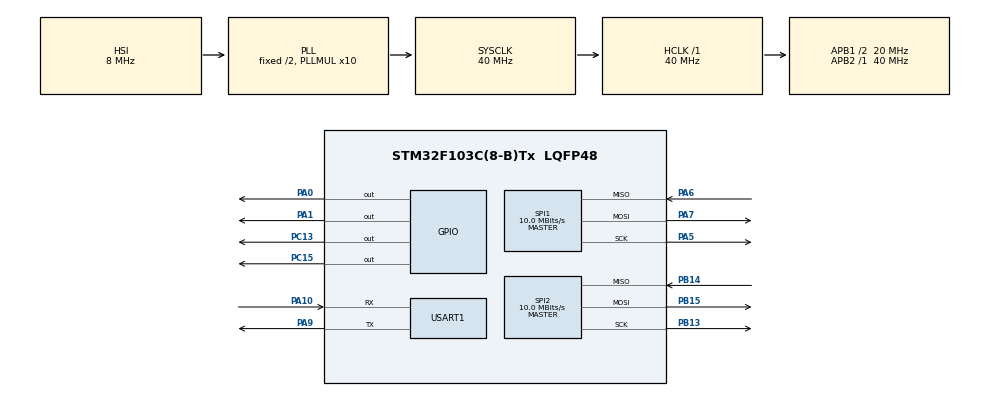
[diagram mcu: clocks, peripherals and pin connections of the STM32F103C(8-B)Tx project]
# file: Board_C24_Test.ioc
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FATFS._MAX_SS=4096
FATFS._USE_LFN=1
Mcu.Family=STM32F1
Mcu.Name=STM32F103C(8-B)Tx
Mcu.Package=LQFP48
NVIC.PriorityGroup=NVIC_PRIORITYGROUP_4
PA0-WKUP.GPIO_PuPd=GPIO_PULLDOWN
PA0-WKUP.Signal=GPIO_Output
PA1.GPIO_PuPd=GPIO_PULLDOWN
PA1.Signal=GPIO_Output
PA10.Mode=Asynchronous
PA10.Signal=USART1_RX
PA13.Mode=Serial_Wire
PA13.Signal=SYS_JTMS-SWDIO
PA14.Mode=Serial_Wire
PA14.Signal=SYS_JTCK-SWCLK
PA5.Mode=Full_Duplex_Master
PA5.Signal=SPI1_SCK
PA6.Mode=Full_Duplex_Master
PA6.Signal=SPI1_MISO
PA7.Mode=Full_Duplex_Master
PA7.Signal=SPI1_MOSI
PA9.Mode=Asynchronous
PA9.Signal=USART1_TX
PB13.Mode=Full_Duplex_Master
PB13.Signal=SPI2_SCK
PB14.Mode=Full_Duplex_Master
PB14.Signal=SPI2_MISO
PB15.Mode=Full_Duplex_Master
PB15.Signal=SPI2_MOSI
PC13-TAMPER-RTC.GPIO_PuPd=GPIO_PULLDOWN
PC13-TAMPER-RTC.Signal=GPIO_Output
PC15-OSC32_OUT.GPIO_PuPd=GPIO_PULLDOWN
PC15-OSC32_OUT.Signal=GPIO_Output
PD0-OSC_IN.Mode=HSE-External-Oscillator
PD0-OSC_IN.Signal=RCC_OSC_IN
PD1-OSC_OUT.Mode=HSE-External-Oscillator
PD1-OSC_OUT.Signal=RCC_OSC_OUT
ProjectManager.HeapSize=0x200
ProjectManager.StackSize=0x400
ProjectManager.TargetToolchain=STM32CubeIDE
RCC.AHBFreq_Value=40000000
RCC.APB1CLKDivider=RCC_HCLK_DIV2
RCC.APB1Freq_Value=20000000
RCC.APB1TimFreq_Value=40000000
RCC.APB2Freq_Value=40000000
RCC.APB2TimFreq_Value=40000000
RCC.HCLKFreq_Value=40000000
RCC.PLLMUL=RCC_PLL_MUL10
RCC.SYSCLKFreq_VALUE=40000000
RCC.SYSCLKSource=RCC_SYSCLKSOURCE_PLLCLK
RCC.USBFreq_Value=40000000
SPI1.BaudRatePrescaler=SPI_BAUDRATEPRESCALER_4
SPI1.CalculateBaudRate=10.0 MBits/s
SPI1.Direction=SPI_DIRECTION_2LINES
SPI1.Mode=SPI_MODE_MASTER
SPI1.VirtualType=VM_MASTER
SPI2.CalculateBaudRate=10.0 MBits/s
SPI2.Direction=SPI_DIRECTION_2LINES
SPI2.Mode=SPI_MODE_MASTER
SPI2.VirtualType=VM_MASTER
USART1.VirtualMode=VM_ASYNC
VP_FATFS_VS_Generic.Mode=User_defined
board=custom

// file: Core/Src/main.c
/* USER CODE BEGIN Header */
/**
  ******************************************************************************
  * @file           : main.c
  * @brief          : Main program body
  ******************************************************************************
  * @attention
  *
  * Copyright (c) 2024 STMicroelectronics.
  * All rights reserved.
  *
  * This software is licensed under terms that can be found in the LICENSE file
  * in the root directory of this software component.
  * If no LICENSE file comes with this software, it is provided AS-IS.
  *
  ******************************************************************************
  */
/* USER CODE END Header */
#include "main.h"
#include "fatfs.h"

/* USER CODE BEGIN Includes */
#include "ILI9225.h"
#include "sd.h"
/* USER CODE END Includes */

SPI_HandleTypeDef hspi1;
SPI_HandleTypeDef hspi2;

UART_HandleTypeDef huart1;

/* USER CODE BEGIN PV */
volatile uint16_t Timer1;
extern FATFS SDFatFs; //File system object structure (FATFS)
/* USER CODE END PV */

void SystemClock_Config(void);
static void MX_GPIO_Init(void);
static void MX_SPI1_Init(void);
static void MX_SPI2_Init(void);
static void MX_USART1_UART_Init(void);

/* USER CODE BEGIN 0 */
struct sd_data SD;
/* USER CODE END 0 */

int main(void)
{

  /* MCU Configuration--------------------------------------------------------*/

  /* Reset of all peripherals, Initializes the Flash interface and the Systick. */
  HAL_Init();

  /* Configure the system clock */
  SystemClock_Config();

  /* Initialize all configured peripherals */
  MX_GPIO_Init();
  MX_SPI1_Init();
  MX_SPI2_Init();
  MX_USART1_UART_Init();
  MX_FATFS_Init();
  /* USER CODE BEGIN 2 */
  HAL_GPIO_TogglePin(GPIOC ,GPIO_PIN_13);
  lcd_init();
  disk_initialize(SDFatFs.drv);
  //SD_List_File();

  /* USER CODE END 2 */

  /* Infinite loop */
  while (1)
  {

    /* USER CODE BEGIN 3 */

	  HAL_GPIO_TogglePin(GPIOC, GPIO_PIN_13);
	  fill_rectangle(0, 0, WIDTH, HEIGHT, COLOR_BLACK);
	  HAL_Delay(50);
	  fill_rectangle(0, 0, WIDTH, HEIGHT, COLOR_WHITE);
	  HAL_Delay(50);
	  fill_rectangle(0, 0, WIDTH, HEIGHT, COLOR_BLUE);
	  HAL_Delay(50);
	  fill_rectangle(0, 0, WIDTH, HEIGHT, COLOR_GREEN);
	  HAL_Delay(50);

	  HAL_Delay(50);

  }
  /* USER CODE END 3 */
}

void SystemClock_Config(void)
{
  RCC_OscInitTypeDef RCC_OscInitStruct = {0};
  RCC_ClkInitTypeDef RCC_ClkInitStruct = {0};

  /** Initializes the RCC Oscillators according to the specified parameters
  * in the RCC_OscInitTypeDef structure.
  */
  RCC_OscInitStruct.OscillatorType = RCC_OSCILLATORTYPE_HSI;
  RCC_OscInitStruct.HSIState = RCC_HSI_ON;
  RCC_OscInitStruct.HSICalibrationValue = RCC_HSICALIBRATION_DEFAULT;
  RCC_OscInitStruct.PLL.PLLState = RCC_PLL_ON;
  RCC_OscInitStruct.PLL.PLLSource = RCC_PLLSOURCE_HSI_DIV2;
  RCC_OscInitStruct.PLL.PLLMUL = RCC_PLL_MUL10;
  if (HAL_RCC_OscConfig(&RCC_OscInitStruct) != HAL_OK)
  {
    Error_Handler();
  }

  /** Initializes the CPU, AHB and APB buses clocks
  */
  RCC_ClkInitStruct.ClockType = RCC_CLOCKTYPE_HCLK|RCC_CLOCKTYPE_SYSCLK
                              |RCC_CLOCKTYPE_PCLK1|RCC_CLOCKTYPE_PCLK2;
  RCC_ClkInitStruct.SYSCLKSource = RCC_SYSCLKSOURCE_PLLCLK;
  RCC_ClkInitStruct.AHBCLKDivider = RCC_SYSCLK_DIV1;
  RCC_ClkInitStruct.APB1CLKDivider = RCC_HCLK_DIV2;
  RCC_ClkInitStruct.APB2CLKDivider = RCC_HCLK_DIV1;

  if (HAL_RCC_ClockConfig(&RCC_ClkInitStruct, FLASH_LATENCY_1) != HAL_OK)
  {
    Error_Handler();
  }
}

static void MX_SPI1_Init(void)
{

  /* SPI1 parameter configuration*/
  hspi1.Instance = SPI1;
  hspi1.Init.Mode = SPI_MODE_MASTER;
  hspi1.Init.Direction = SPI_DIRECTION_2LINES;
  hspi1.Init.DataSize = SPI_DATASIZE_8BIT;
  hspi1.Init.CLKPolarity = SPI_POLARITY_LOW;
  hspi1.Init.CLKPhase = SPI_PHASE_1EDGE;
  hspi1.Init.NSS = SPI_NSS_SOFT;
  hspi1.Init.BaudRatePrescaler = SPI_BAUDRATEPRESCALER_4;
  hspi1.Init.FirstBit = SPI_FIRSTBIT_MSB;
  hspi1.Init.TIMode = SPI_TIMODE_DISABLE;
  hspi1.Init.CRCCalculation = SPI_CRCCALCULATION_DISABLE;
  hspi1.Init.CRCPolynomial = 10;
  if (HAL_SPI_Init(&hspi1) != HAL_OK)
  {
    Error_Handler();
  }

}

static void MX_SPI2_Init(void)
{

  /* SPI2 parameter configuration*/
  hspi2.Instance = SPI2;
  hspi2.Init.Mode = SPI_MODE_MASTER;
  hspi2.Init.Direction = SPI_DIRECTION_2LINES;
  hspi2.Init.DataSize = SPI_DATASIZE_8BIT;
  hspi2.Init.CLKPolarity = SPI_POLARITY_LOW;
  hspi2.Init.CLKPhase = SPI_PHASE_1EDGE;
  hspi2.Init.NSS = SPI_NSS_SOFT;
  hspi2.Init.BaudRatePrescaler = SPI_BAUDRATEPRESCALER_2;
  hspi2.Init.FirstBit = SPI_FIRSTBIT_MSB;
  hspi2.Init.TIMode = SPI_TIMODE_DISABLE;
  hspi2.Init.CRCCalculation = SPI_CRCCALCULATION_DISABLE;
  hspi2.Init.CRCPolynomial = 10;
  if (HAL_SPI_Init(&hspi2) != HAL_OK)
  {
    Error_Handler();
  }

}

static void MX_USART1_UART_Init(void)
{

  huart1.Instance = USART1;
  huart1.Init.BaudRate = 115200;
  huart1.Init.WordLength = UART_WORDLENGTH_8B;
  huart1.Init.StopBits = UART_STOPBITS_1;
  huart1.Init.Parity = UART_PARITY_NONE;
  huart1.Init.Mode = UART_MODE_TX_RX;
  huart1.Init.HwFlowCtl = UART_HWCONTROL_NONE;
  huart1.Init.OverSampling = UART_OVERSAMPLING_16;
  if (HAL_UART_Init(&huart1) != HAL_OK)
  {
    Error_Handler();
  }

}

static void MX_GPIO_Init(void)
{
  GPIO_InitTypeDef GPIO_InitStruct = {0};

  /* GPIO Ports Clock Enable */
  __HAL_RCC_GPIOC_CLK_ENABLE();
  __HAL_RCC_GPIOD_CLK_ENABLE();
  __HAL_RCC_GPIOA_CLK_ENABLE();
  __HAL_RCC_GPIOB_CLK_ENABLE();

  /*Configure GPIO pin Output Level */
  HAL_GPIO_WritePin(GPIOC, GPIO_PIN_13|GPIO_PIN_15, GPIO_PIN_RESET);

  /*Configure GPIO pin Output Level */
  HAL_GPIO_WritePin(GPIOA, GPIO_PIN_0|GPIO_PIN_1, GPIO_PIN_RESET);

  /*Configure GPIO pins : PC13 PC15 */
  GPIO_InitStruct.Pin = GPIO_PIN_13|GPIO_PIN_15;
  GPIO_InitStruct.Mode = GPIO_MODE_OUTPUT_PP;
  GPIO_InitStruct.Pull = GPIO_PULLDOWN;
  GPIO_InitStruct.Speed = GPIO_SPEED_FREQ_LOW;
  HAL_GPIO_Init(GPIOC, &GPIO_InitStruct);

  /*Configure GPIO pins : PA0 PA1 */
  GPIO_InitStruct.Pin = GPIO_PIN_0|GPIO_PIN_1;
  GPIO_InitStruct.Mode = GPIO_MODE_OUTPUT_PP;
  GPIO_InitStruct.Pull = GPIO_PULLDOWN;
  GPIO_InitStruct.Speed = GPIO_SPEED_FREQ_LOW;
  HAL_GPIO_Init(GPIOA, &GPIO_InitStruct);

}

void Error_Handler(void)
{
  __disable_irq();
  while (1)
  {
  }
}
